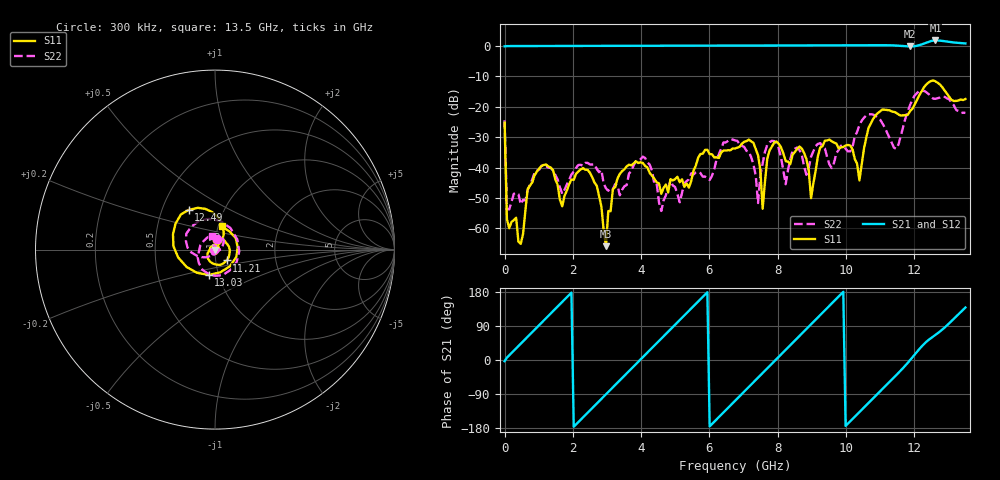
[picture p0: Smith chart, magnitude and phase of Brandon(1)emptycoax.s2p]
!Agilent Technologies,N5230C,MY48100320,A.08.04.10
!Agilent N5230C: A.08.04.10
!Date: Thursday, July 07, 2016 05:03:17
!Correction: S11(Full 2 Port(1,2))
!S21(Full 2 Port(1,2))
!S12(Full 2 Port(1,2))
!S22(Full 2 Port(1,2))
!S2P File: Measurements: S11, S21, S12, S22:
# Hz S  dB  R 50
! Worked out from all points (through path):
!   201 points, 300 kHz to 13.5 GHz, reference 50 ohm
!   highest |S21| = 1.86 dB at 12.62 GHz (marker M1); lowest = -0.1 dB at 11.88 GHz (marker M2)
!   lowest |S11| = -65.9 dB at 2.97 GHz (marker M3), VSWR 1.00, Z = 50 + j0.0453 ohm
!   |S11| at or under -10 dB: start of sweep to end of sweep
!   |S22| runs from -54.3 to -14.7 dB; largest |S21 - S12| = 0.0025
!   S11 on the Smith chart (normalised r, x): 300 kHz: 1.01, +0.11; 11.21 GHz: 1.13, -0.14; 12.49 GHz: 0.68, +0.32; 13.03 GHz: 0.90, -0.26; 13.5 GHz: 1.04, +0.27
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300000  -25.21 80.7  -0.08 -3.2  -0.08 -3.3  -24.40 77.3
6.77985e7  -56.94 -173.2  0.01 6.2  0.01 6.2  -53.65 -164.8
4.727895e8  -65.10 55.1  0.03 43.0  0.03 43.0  -52.04 -147.2
1.012778e9  -40.30 -15.2  0.05 92.1  0.05 92.1  -40.70 -30.0
2.295249e9  -40.19 -121.0  0.09 -151.7  0.09 -151.7  -39.35 -18.5
2.970234e9  -65.86 117.2  0.09 -90.5  0.09 -90.5  -46.81 91.2
3.442724e9  -41.14 -60.0  0.09 -47.7  0.09 -47.6  -47.23 161.5
4.5227e9  -45.15 176.5  0.12 50.3  0.13 50.3  -51.41 -160.0
5.805171e9  -35.42 -43.9  0.15 166.5  0.15 166.5  -42.99 168.8
6.75015e9  -33.71 58.9  0.16 -107.8  0.17 -107.8  -31.02 -120.3
7.290138e9  -31.86 -150.9  0.18 -58.8  0.18 -58.8  -38.97 165.5
7.560132e9  -53.53 -129.2  0.18 -34.3  0.18 -34.3  -38.64 15.5
7.897624e9  -31.75 151.6  0.19 -3.8  0.19 -3.7  -31.25 1.1
9.045099e9  -45.25 -82.4  0.22 100.2  0.22 100.3  -34.68 -28.2
1.005758e10  -32.54 -86.7  0.26 -167.9  0.27 -167.9  -34.66 164.8
1.120505e10  -21.04 -43.2  0.30 -64.2  0.30 -64.1  -28.45 17.4
1.127255e10  -21.14 -30.1  0.28 -58.1  0.29 -58.1  -30.00 4.4
1.188004e10  -21.41 57.9  -0.12 -0.3  -0.13 -0.2  -19.37 -161.7
1.248752e10  -11.52 123.7  1.65 57.5  1.65 57.6  -16.60 54.4
1.262252e10  -11.60 147.0  1.86 66.2  1.85 66.3  -17.35 -4.2
1.302751e10  -16.72 -103.8  1.38 97.0  1.38 96.9  -17.54 -121.7
1.35e10  -17.42 73.8  0.89 138.5  0.89 138.5  -21.97 103.5
